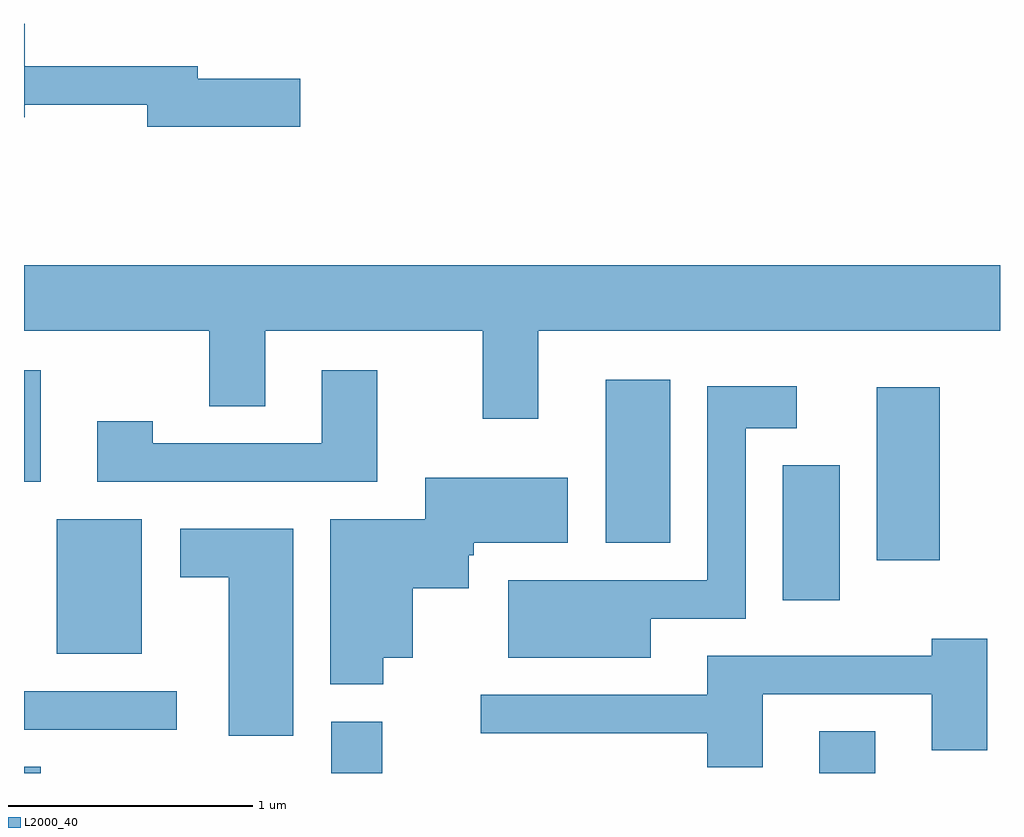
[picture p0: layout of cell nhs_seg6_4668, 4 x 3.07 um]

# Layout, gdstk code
import gdstk
lib = gdstk.Library(unit=1e-6, precision=1e-09)
def R(c, l, rs):  # rectangles x0, y0, x1, y1
    for r in rs: c.add(gdstk.rectangle(r[:2], r[2:], *l))
def P(c, l, *ps):  # polygons
    for p in ps: c.add(gdstk.Polygon(p, *l))
L2000_40 = (2000, 40)

nhs_seg6_4668 = lib.new_cell('nhs_seg6_4668')
R(nhs_seg6_4668, L2000_40, [(327.611,1608.162,327.679,1608.189), (328.871,1608.162,329.079,1608.374), (330.871,1608.162,331.099,1608.334), (327.611,1608.341,328.238,1608.499), (327.746,1608.651,328.094,1609.204), (330.721,1608.871,330.954,1609.424), (331.106,1609.036,331.364,1609.744), (329.996,1609.106,330.259,1609.774), (327.611,1609.356,327.679,1609.814)])
P(nhs_seg6_4668, L2000_40, [(328.744,1611.009),(328.324,1611.009),(328.324,1611.059),(327.614,1611.059),(327.614,1611.234),(327.611,1611.234),(327.611,1610.851),(327.614,1610.851),(327.614,1610.901),(328.116,1610.901),(328.116,1610.811),(328.744,1610.811)],
  [(329.719,1609.976),(331.611,1609.976),(331.611,1610.244),(327.611,1610.244),(327.611,1609.976),(328.371,1609.976),(328.371,1609.666),(328.599,1609.666),(328.599,1609.976),(329.491,1609.976),(329.491,1609.616),(329.719,1609.616)],
  [(329.059,1609.814),(328.831,1609.814),(328.831,1609.514),(328.139,1609.514),(328.139,1609.604),(327.911,1609.604),(327.911,1609.356),(329.059,1609.356)],
  [(330.179,1608.796),(330.569,1608.796),(330.569,1609.576),(330.779,1609.576),(330.779,1609.749),(330.411,1609.749),(330.411,1608.954),(329.596,1608.954),(329.596,1608.636),(330.179,1608.636)],
  [(329.084,1608.636),(329.204,1608.636),(329.204,1608.921),(329.434,1608.921),(329.434,1609.056),(329.454,1609.056),(329.454,1609.106),(329.839,1609.106),(329.839,1609.374),(329.256,1609.374),(329.256,1609.204),(328.866,1609.204),(328.866,1608.526),(329.084,1608.526)],
  [(328.714,1609.164),(328.251,1609.164),(328.251,1608.966),(328.451,1608.966),(328.451,1608.316),(328.714,1608.316)],
  [(330.639,1608.486),(331.331,1608.486),(331.331,1608.256),(331.559,1608.256),(331.559,1608.714),(331.331,1608.714),(331.331,1608.644),(330.411,1608.644),(330.411,1608.484),(329.483,1608.484),(329.483,1608.326),(330.411,1608.326),(330.411,1608.186),(330.639,1608.186)])

lib.write_gds('nhs_seg6_4668.gds')
